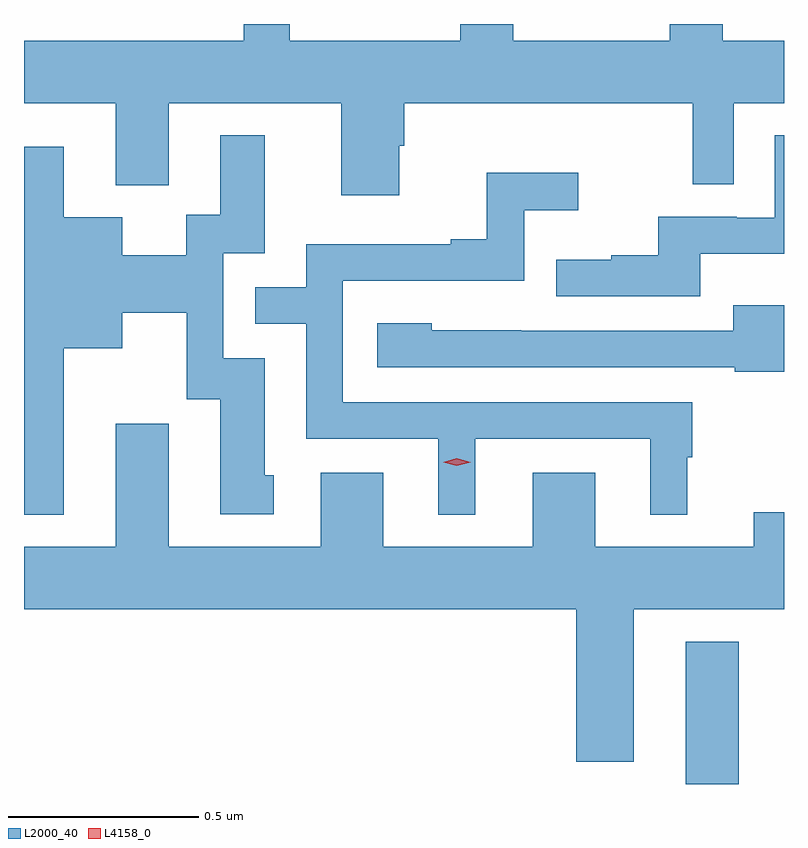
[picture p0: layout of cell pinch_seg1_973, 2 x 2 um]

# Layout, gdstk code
import gdstk
lib = gdstk.Library(unit=1e-6, precision=1e-09)
def R(c, l, rs):  # rectangles x0, y0, x1, y1
    for r in rs: c.add(gdstk.rectangle(r[:2], r[2:], *l))
def P(c, l, *ps):  # polygons
    for p in ps: c.add(gdstk.Polygon(p, *l))
L2000_40 = (2000, 40)
L4158_0 = (4158, 0)

pinch_seg1_973 = lib.new_cell('pinch_seg1_973')
R(pinch_seg1_973, L2000_40, [(180.749,535.288,180.889,535.663)])
P(pinch_seg1_973, L2000_40, [(179.995,536.967),(180.008,536.967),(180.008,537.08),(180.768,537.08),(180.768,536.866),(180.876,536.866),(180.876,537.08),(181.008,537.08),(181.008,537.244),(180.847,537.244),(180.847,537.288),(180.707,537.288),(180.707,537.244),(180.295,537.244),(180.295,537.288),(180.156,537.288),(180.156,537.244),(179.707,537.244),(179.707,537.288),(179.586,537.288),(179.586,537.244),(179.008,537.244),(179.008,537.08),(179.249,537.08),(179.249,536.864),(179.389,536.864),(179.389,537.08),(179.843,537.08),(179.843,536.838),(179.995,536.838)],
  [(179.113,536.435),(179.266,536.435),(179.266,536.528),(179.436,536.528),(179.436,536.301),(179.525,536.301),(179.525,535.998),(179.665,535.998),(179.665,536.1),(179.641,536.1),(179.641,536.409),(179.532,536.409),(179.532,536.685),(179.641,536.685),(179.641,536.995),(179.525,536.995),(179.525,536.786),(179.435,536.786),(179.435,536.68),(179.266,536.68),(179.266,536.779),(179.113,536.779),(179.113,536.965),(179.008,536.965),(179.008,535.997),(179.113,535.997)],
  [(180.787,536.684),(181.008,536.684),(181.008,536.995),(180.984,536.995),(180.984,536.778),(180.884,536.778),(180.884,536.781),(180.677,536.781),(180.677,536.68),(180.553,536.68),(180.553,536.668),(180.409,536.668),(180.409,536.571),(180.787,536.571)],
  [(180.196,536.196),(180.656,536.196),(180.656,535.997),(180.754,535.997),(180.754,536.148),(180.766,536.148),(180.766,536.292),(179.847,536.292),(179.847,536.613),(180.324,536.613),(180.324,536.798),(180.466,536.798),(180.466,536.897),(180.226,536.897),(180.226,536.722),(180.131,536.722),(180.131,536.709),(179.751,536.709),(179.751,536.595),(179.617,536.595),(179.617,536.499),(179.751,536.499),(179.751,536.196),(180.098,536.196),(180.098,535.997),(180.196,535.997)],
  [(181.008,536.548),(180.875,536.548),(180.875,536.481),(180.317,536.481),(180.317,536.482),(180.081,536.482),(180.081,536.5),(179.937,536.5),(179.937,536.385),(180.879,536.385),(180.879,536.373),(181.008,536.373)],
  [(180.613,535.748),(181.008,535.748),(181.008,536.003),(180.929,536.003),(180.929,535.912),(180.511,535.912),(180.511,536.107),(180.347,536.107),(180.347,535.912),(179.953,535.912),(179.953,536.107),(179.789,536.107),(179.789,535.912),(179.389,535.912),(179.389,536.236),(179.249,536.236),(179.249,535.912),(179.008,535.912),(179.008,535.748),(180.461,535.748),(180.461,535.347),(180.613,535.347)])
P(pinch_seg1_973, L4158_0, [(180.147,536.125),(180.111,536.135),(180.111,536.135),(180.111,536.135),(180.147,536.145),(180.183,536.135),(180.183,536.135),(180.183,536.135)])

lib.write_gds('pinch_seg1_973.gds')
